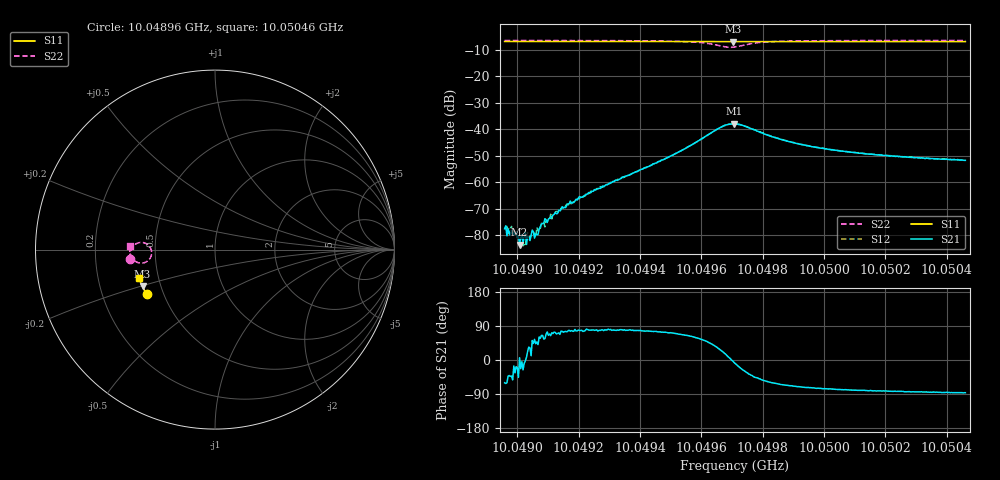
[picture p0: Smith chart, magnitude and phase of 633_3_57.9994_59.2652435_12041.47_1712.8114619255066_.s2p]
#  HZ  S  RI  R  50.00
! Rohde & Schwarz Vector Network Analyzer
! Rohde-Schwarz,ZNB20-2Port,1311601062101988,3.16
! Created: UTC 3/21/2024, 1:18:44 AM
! freq[Hz]  re:S11  im:S11  re:S21  im:S21  re:S12  im:S12  re:S22  im:S22
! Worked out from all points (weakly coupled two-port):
!   401 points, 10.04896 GHz to 10.05046 GHz, reference 50 ohm
!   highest |S21| = -37.85 dB at 10.04971 GHz (marker M1); lowest = -83.5 dB at 10.04901 GHz (marker M2)
!   lowest |S11| = -6.9 dB at 10.0497 GHz (marker M3), VSWR 2.65, Z = 19.8 - j10.2 ohm
!   |S11| at or under -10 dB: nowhere
!   |S22| runs from -9.0 to -6.4 dB; largest |S21 - S12| = 0.00095
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1.0048958e10  -0.3816 -0.2481  6.66e-05 -0.000116  7.34e-05 -0.000121  -0.4731 -0.0527
1.0049007e10  -0.3833 -0.2453  6.67e-05 6.93e-06  7.77e-05 -2.85e-05  -0.4731 -0.0487
1.0049037e10  -0.3843 -0.2436  7.69e-05 5.16e-05  7.76e-05 5.42e-05  -0.4731 -0.0462
1.0049052e10  -0.3847 -0.2426  8.45e-05 8.11e-05  4.79e-05 8.89e-05  -0.4733 -0.0448
1.0049063e10  -0.385 -0.242  6.95e-05 7.64e-05  9.71e-05 0.000104  -0.4732 -0.0439
1.0049086e10  -0.3859 -0.2407  9.58e-05 0.000139  7.72e-05 0.000156  -0.4734 -0.0417
1.0049097e10  -0.3862 -0.2401  4.85e-05 0.000169  7.15e-05 0.000169  -0.4733 -0.0409
1.0049124e10  -0.3871 -0.2386  8.05e-05 0.000256  6.56e-05 0.000268  -0.4733 -0.0385
1.0049169e10  -0.3885 -0.236  7.89e-05 0.000388  6.39e-05 0.000361  -0.4732 -0.0341
1.004921e10  -0.3898 -0.2337  0.000104 0.000514  0.000101 0.000544  -0.473 -0.0303
1.0049266e10  -0.3917 -0.2305  0.000158 0.000759  0.000102 0.000759  -0.4725 -0.0243
1.0049462e10  -0.3978 -0.2188  0.000679 0.0024  0.000516 0.00242  -0.4655 0.00333
1.0049544e10  -0.4001 -0.2139  0.00174 0.00389  0.00151 0.00399  -0.453 0.0219
1.0049635e10  -0.4023 -0.2082  0.00654 0.00585  0.00614 0.00625  -0.404 0.0397
1.0049672e10  -0.4029 -0.2061  0.0109 0.00404  0.0105 0.00469  -0.365 0.0178
1.0049702e10  -0.4033 -0.2048  0.0128 -0.000494  0.0127 0.000317  -0.3536 -0.0265
1.0049706e10  -0.4035 -0.2046  0.0127 -0.00134  0.0128 -0.000433  -0.3549 -0.0325
1.004971e10  -0.4037 -0.2043  0.0125 -0.00196  0.0127 -0.00114  -0.3567 -0.0381
1.0049804e10  -0.4069 -0.1996  0.00487 -0.00668  0.00534 -0.00642  -0.4376 -0.0689
1.0049961e10  -0.4116 -0.19  0.00137 -0.00451  0.00162 -0.0045  -0.4689 -0.0324
1.0050213e10  -0.4179 -0.1746  0.000419 -0.00312  0.00062 -0.00314  -0.475 -0.000887
1.0050461e10  -0.4236 -0.1593  0.00017 -0.0026  0.000303 -0.00262  -0.4751 0.0208
